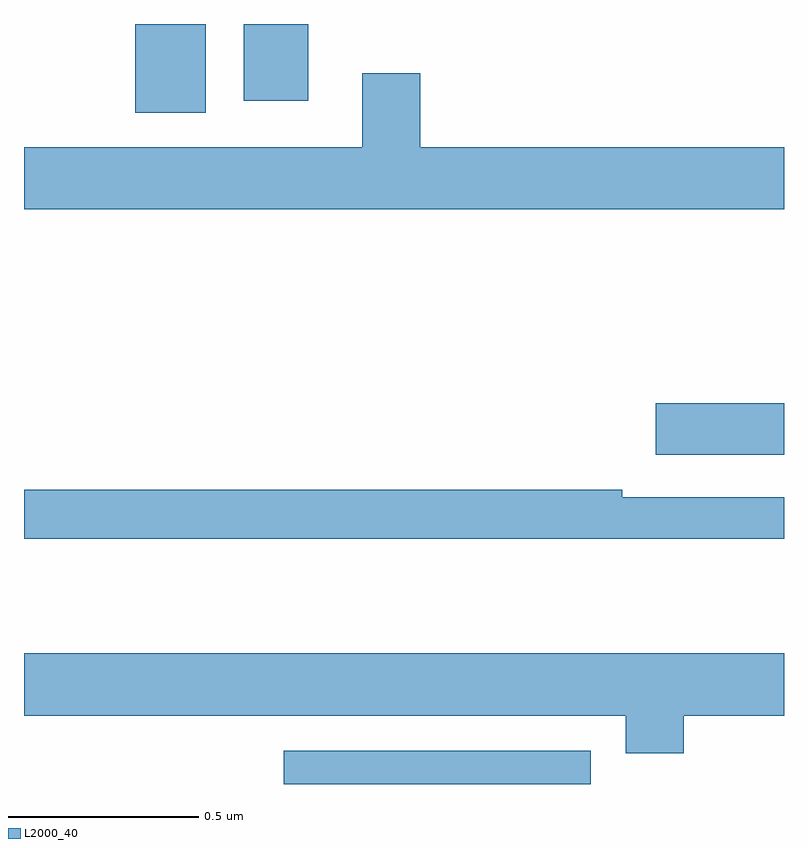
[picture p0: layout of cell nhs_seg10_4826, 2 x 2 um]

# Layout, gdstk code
import gdstk
lib = gdstk.Library(unit=1e-6, precision=1e-09)
def R(c, l, rs):  # rectangles x0, y0, x1, y1
    for r in rs: c.add(gdstk.rectangle(r[:2], r[2:], *l))
def P(c, l, *ps):  # polygons
    for p in ps: c.add(gdstk.Polygon(p, *l))
L2000_40 = (2000, 40)

nhs_seg10_4826 = lib.new_cell('nhs_seg10_4826')
R(nhs_seg10_4826, L2000_40, [(171.684,1269.5,172.491,1269.588), (172.662,1270.367,173,1270.502), (171.293,1271.267,171.478,1271.5), (171.578,1271.298,171.748,1271.5)])
P(nhs_seg10_4826, L2000_40, [(173,1271.176),(172.043,1271.176),(172.043,1271.371),(171.89,1271.371),(171.89,1271.176),(171,1271.176),(171,1271.012),(173,1271.012)],
  [(173,1270.254),(172.574,1270.254),(172.574,1270.274),(171,1270.274),(171,1270.146),(173,1270.146)],
  [(172.736,1269.68),(173,1269.68),(173,1269.844),(171,1269.844),(171,1269.68),(172.583,1269.68),(172.583,1269.581),(172.736,1269.581)])

lib.write_gds('nhs_seg10_4826.gds')
